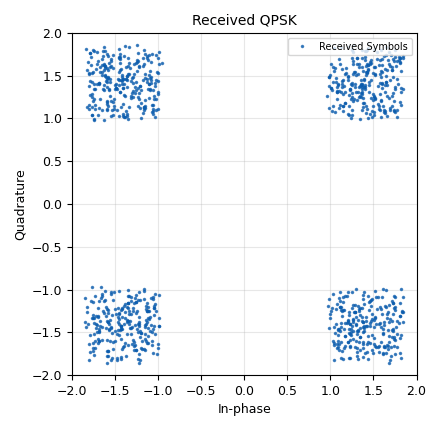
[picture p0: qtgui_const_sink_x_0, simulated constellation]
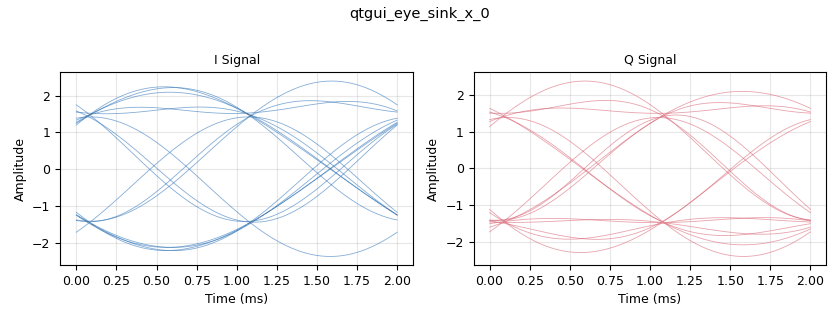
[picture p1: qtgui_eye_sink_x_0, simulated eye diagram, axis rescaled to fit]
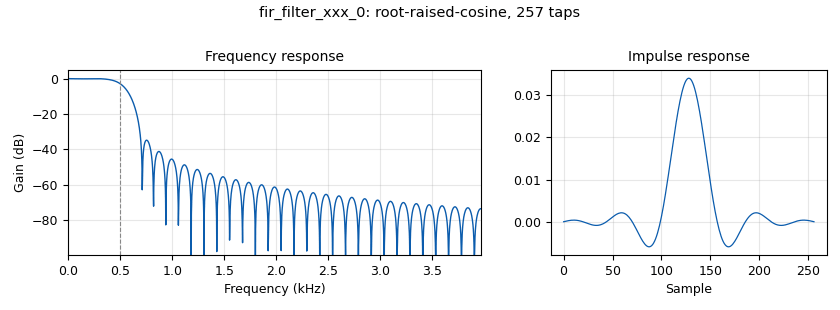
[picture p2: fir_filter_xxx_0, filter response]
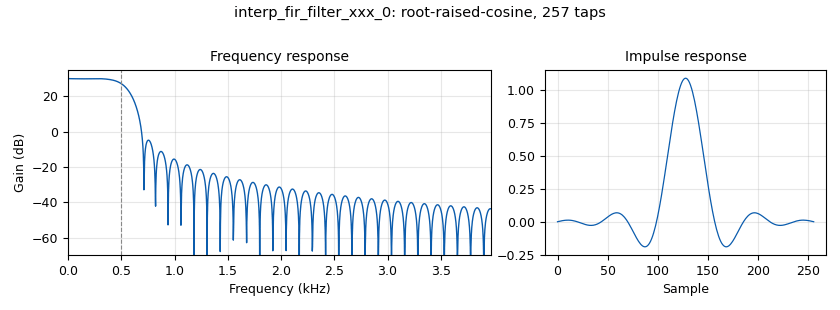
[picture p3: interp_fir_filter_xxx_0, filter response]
options:
  parameters:
    author: Dhrubjun
    generate_options: qt_gui
    id: exp1
    output_language: python
    title: Symbol Rate and Multipath
  states: {}

blocks:
- name: alpha
  id: variable
  parameters:
    value: '0.35'
  states: {}
- name: echo_delay
  id: variable
  parameters:
    value: '8'
  states: {}
- name: echo_gain
  id: variable
  parameters:
    value: '0.5'
  states: {}
- name: ntaps
  id: variable
  parameters:
    value: span * sps + 1
  states: {}
- name: samp_rate
  id: variable
  parameters:
    value: '32000'
  states: {}
- name: span
  id: variable
  parameters:
    value: '8'
  states: {}
- name: sps
  id: variable
  parameters:
    value: int(samp_rate / symbol_rate)
  states: {}
- name: symbol_rate
  id: variable
  parameters:
    value: '1000'
  states: {}
- name: analog_random_source_x_0
  id: analog_random_source_x
  parameters:
    max: '2'
    min: '0'
    num_samps: '1000'
    repeat: 'True'
    type: byte
  states: {}
- name: analog_random_source_x_0_0
  id: analog_random_source_x
  parameters:
    max: '2'
    min: '0'
    num_samps: '1000'
    repeat: 'True'
    type: byte
  states: {}
- name: blocks_add_xx_0
  id: blocks_add_xx
  parameters:
    type: complex
  states: {}
- name: blocks_delay_0
  id: blocks_delay
  parameters:
    delay: echo_delay
    type: complex
  states: {}
- name: blocks_float_to_complex_0
  id: blocks_float_to_complex
  parameters: {}
  states: {}
- name: blocks_keep_one_in_n_0
  id: blocks_keep_one_in_n
  parameters:
    n: sps
    type: complex
  states: {}
- name: blocks_multiply_const_vxx_0
  id: blocks_multiply_const_vxx
  parameters:
    const: echo_gain
    type: complex
  states: {}
- name: blocks_throttle2_0
  id: blocks_throttle2
  parameters:
    samples_per_second: samp_rate
    type: complex
  states: {}
- name: digital_chunks_to_symbols_xx_0
  id: digital_chunks_to_symbols_xx
  parameters:
    dimension: '1'
    in_type: byte
    out_type: float
    symbol_table: '[-1,1]'
  states: {}
- name: digital_chunks_to_symbols_xx_0_0
  id: digital_chunks_to_symbols_xx
  parameters:
    dimension: '1'
    in_type: byte
    out_type: float
    symbol_table: '[-1,1]'
  states: {}
- name: fir_filter_xxx_0
  id: fir_filter_xxx
  parameters:
    decim: '1'
    taps: firdes.root_raised_cosine(1, samp_rate, symbol_rate, alpha, ntaps)
    type: ccf
  states: {}
- name: interp_fir_filter_xxx_0
  id: interp_fir_filter_xxx
  parameters:
    interp: sps
    taps: firdes.root_raised_cosine(sps, samp_rate, symbol_rate, alpha, ntaps)
    type: ccf
  states: {}
- name: qtgui_const_sink_x_0
  id: qtgui_const_sink_x
  parameters:
    grid: 'True'
    label1: Received Symbols
    name: Received QPSK
    size: '1024'
    type: complex
    width1: '2'
  states: {}
- name: qtgui_eye_sink_x_0
  id: qtgui_eye_sink_x
  parameters:
    grid: 'True'
    label1: I Signal
    label2: Q Signal
    samp_per_symbol: sps
    size: '1024'
    srate: samp_rate
    type: complex
    width1: '2'
    width2: '2'
  states: {}

connections:
- [analog_random_source_x_0, '0', digital_chunks_to_symbols_xx_0, '0']
- [analog_random_source_x_0_0, '0', digital_chunks_to_symbols_xx_0_0, '0']
- [blocks_add_xx_0, '0', fir_filter_xxx_0, '0']
- [blocks_delay_0, '0', blocks_multiply_const_vxx_0, '0']
- [blocks_float_to_complex_0, '0', interp_fir_filter_xxx_0, '0']
- [blocks_keep_one_in_n_0, '0', qtgui_const_sink_x_0, '0']
- [blocks_multiply_const_vxx_0, '0', blocks_add_xx_0, '1']
- [blocks_throttle2_0, '0', blocks_add_xx_0, '0']
- [blocks_throttle2_0, '0', blocks_delay_0, '0']
- [digital_chunks_to_symbols_xx_0, '0', blocks_float_to_complex_0, '0']
- [digital_chunks_to_symbols_xx_0_0, '0', blocks_float_to_complex_0, '1']
- [fir_filter_xxx_0, '0', blocks_keep_one_in_n_0, '0']
- [fir_filter_xxx_0, '0', qtgui_eye_sink_x_0, '0']
- [interp_fir_filter_xxx_0, '0', blocks_throttle2_0, '0']

metadata:
  file_format: 1
  grc_version: 3.10.12.0
